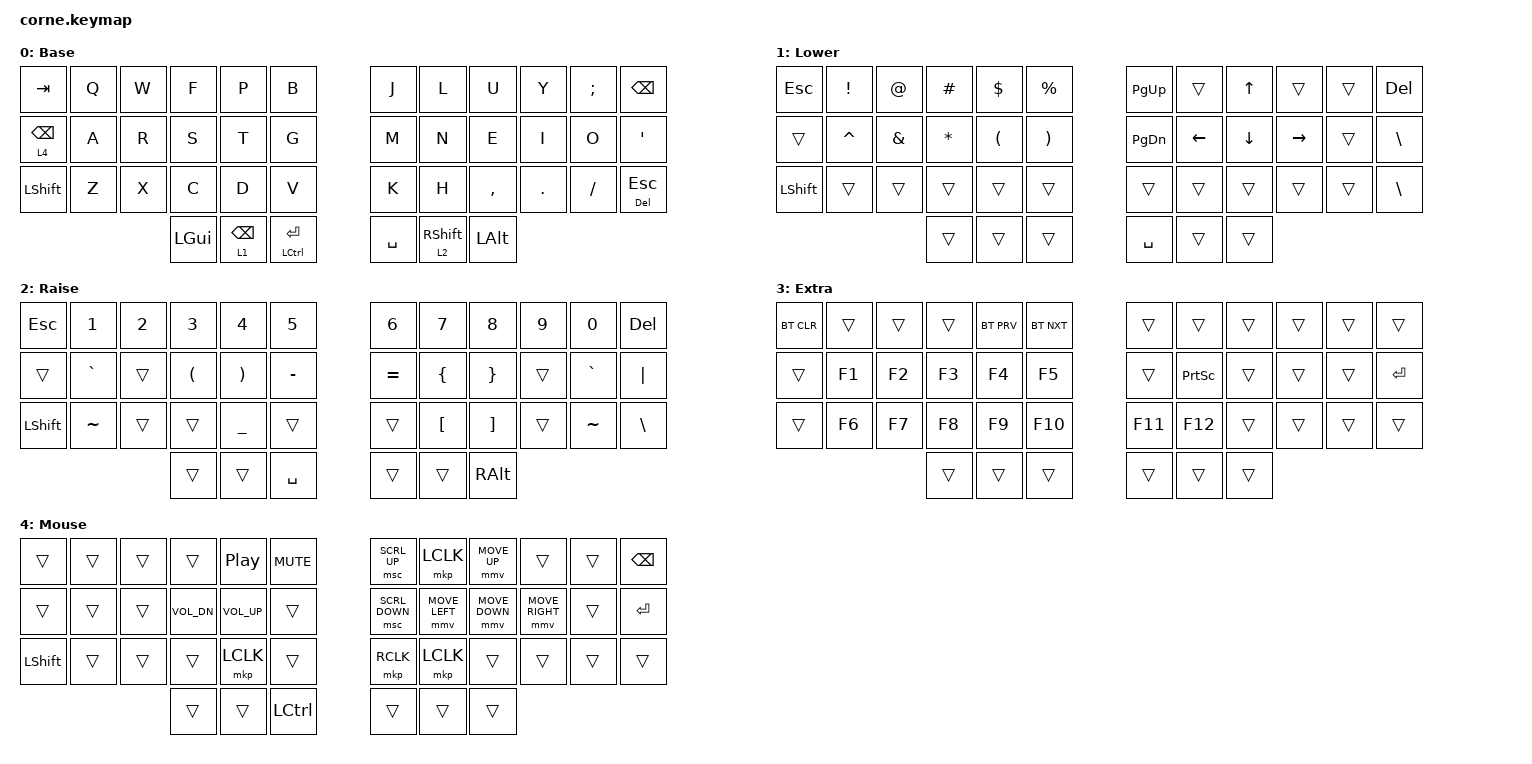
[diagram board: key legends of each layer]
/*
 * Copyright (c) 2020 The ZMK Contributors
 *
 * SPDX-License-Identifier: MIT
 */

/* 1. Define custom max speeds BEFORE including pointing.h */
#define ZMK_POINTING_DEFAULT_MOVE_VAL 1200  /* <--- New max speed setting (default: 600) */
#define ZMK_POINTING_DEFAULT_SCRL_VAL 50    /* <--- New scroll speed setting (default: 10) */

/* 2. Include modern ZMK headers (removed the deprecated mouse.h) */
#include <dt-bindings/zmk/pointing.h>
#include <behaviors.dtsi>
#include <dt-bindings/zmk/bt.h>
#include <dt-bindings/zmk/keys.h>

/* 3. Acceleration settings */
&mmv {
    time-to-max-speed-ms = <400>;             /* <--- How long time until max speed is reached */
};

&msc { 
    time-to-max-speed-ms = <500>; 
};

//LEFT, DOWN, RIGHT mouse keys in one macro so that the layout can be better organized
/ {
    behaviors {
        // Dedicated timing for the Ctrl/Enter thumb key.
        ctrl_enter: ctrl_enter {
            compatible = "zmk,behavior-hold-tap";
            #binding-cells = <2>;
            flavor = "hold-preferred";
            tapping-term-ms = <150>;
            bindings = <&kp>, <&kp>;
        };

        escdelete: escdelete {
            compatible = "zmk,behavior-tap-dance";
            label = "ESCDELETE";
            #binding-cells = <0>;
            bindings = <&kp ESC>, <&kp DELETE>;
        };
    };

    macros {
        win_paste: win_paste {
            compatible = "zmk,behavior-macro";
            #binding-cells = <0>;
            bindings = <&kp LG(V)>;
            label = "WIN_PASTE";
        };

        delete_word: delete_word {
            compatible = "zmk,behavior-macro";
            #binding-cells = <0>;
            bindings = <&kp LC(BACKSPACE)>;
            label = "DELETE_WORD";
        };
    };

    combos {
        compatible = "zmk,combos";

        combo_esc {
            timeout-ms = <50>;
            key-positions = <37 40>;
            bindings = <&mo 3>;
        };

        paste {
            bindings = <&win_paste>;
            key-positions = <15 16>;
            layers = <1>;
        };
    };

    keymap {
        compatible = "zmk,keymap";

        default_layer {
            label = "Base";
            bindings = <
&kp TAB          &kp Q  &kp W  &kp F     &kp P            &kp B              &kp J      &kp L         &kp U         &kp Y    &kp SEMI  &kp BSPC
&lt 4 BACKSPACE  &kp A  &kp R  &kp S     &kp T            &kp G              &kp M      &kp N         &kp E         &kp I    &kp O     &kp SINGLE_QUOTE
&kp LSHFT        &kp Z  &kp X  &kp C     &kp D            &kp V              &kp K      &kp H         &kp COMMA     &kp DOT  &kp FSLH  &mt DELETE ESC
                               &kp LGUI  &lt 1 BACKSPACE  &ctrl_enter LCTRL ENTER    &kp SPACE  &lt 2 RSHIFT  &kp LEFT_ALT
            >;
        };

        lower_layer {
            label = "Lower";
            bindings = <
&kp ESC    &kp EXCL   &kp AT    &kp HASH  &kp DLLR  &kp PRCNT    &kp PG_UP  &trans    &kp UP    &trans     &trans  &kp DELETE
&trans     &kp CARET  &kp AMPS  &kp STAR  &kp LPAR  &kp RPAR     &kp PG_DN  &kp LEFT  &kp DOWN  &kp RIGHT  &trans  &kp BSLH
&kp LSHFT  &trans     &trans    &trans    &trans    &trans       &trans     &trans    &trans    &trans     &trans  &kp BSLH
                                &trans    &trans    &trans       &kp SPACE  &trans    &trans
            >;
        };

        raise_layer {
            label = "Raise";
            bindings = <
&kp ESC    &kp N1     &kp N2  &kp N3                &kp N4                 &kp N5       &kp N6     &kp N7    &kp N8    &kp N9  &kp N0     &kp DELETE
&trans     &kp GRAVE  &trans  &kp LEFT_PARENTHESIS  &kp RIGHT_PARENTHESIS  &kp MINUS    &kp EQUAL  &kp LBRC  &kp RBRC  &trans  &kp GRAVE  &kp PIPE
&kp LSHFT  &kp TILDE  &trans  &trans                &kp UNDER              &trans       &trans     &kp LBKT  &kp RBKT  &trans  &kp TILDE  &kp BACKSLASH
                              &trans                &trans                 &kp SPACE    &trans     &trans    &kp RALT
            >;
        };

        extra_layer {
            label = "Extra";
            bindings = <
&bt BT_CLR  &trans  &trans  &trans  &bt BT_PRV  &bt BT_NXT    &trans   &trans     &trans  &trans  &trans  &trans
&trans      &kp F1  &kp F2  &kp F3  &kp F4      &kp F5        &trans   &kp PSCRN  &trans  &trans  &trans  &kp ENTER
&trans      &kp F6  &kp F7  &kp F8  &kp F9      &kp F10       &kp F11  &kp F12    &trans  &trans  &trans  &trans
                            &trans  &trans      &trans        &trans   &trans     &trans
            >;
        };

        mouse_layer {
            label = "Mouse";
            bindings = <
&trans     &trans  &trans  &trans        &kp C_PP      &kp C_MUTE    &msc SCRL_UP    &mkp LCLK       &mmv MOVE_UP    &trans           &trans  &kp BSPC
&trans     &trans  &trans  &kp C_VOL_DN  &kp C_VOL_UP  &trans        &msc SCRL_DOWN  &mmv MOVE_LEFT  &mmv MOVE_DOWN  &mmv MOVE_RIGHT  &trans  &kp ENTER
&kp LSHFT  &trans  &trans  &trans        &mkp LCLK     &trans        &mkp RCLK       &mkp LCLK       &trans          &trans           &trans  &trans
                           &trans        &trans        &kp LCTRL     &trans          &trans          &trans
            >;
        };
    };
};
